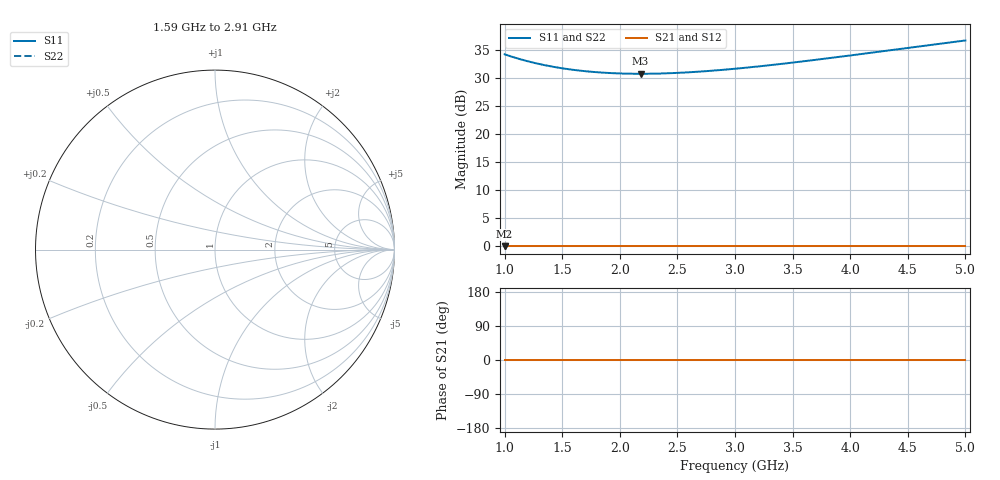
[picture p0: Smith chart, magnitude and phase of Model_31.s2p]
# GHZ S RI R 50
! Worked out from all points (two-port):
!   401 points, 1 GHz to 5 GHz, reference 50 ohm
!   highest |S21| = 0.00 dB at 1 GHz (marker M1); lowest = 0.0 dB at 1 GHz (marker M2)
!   |S21| within 3 dB of the highest: start of sweep to end of sweep
!   lowest |S11| = 30.7 dB at 2.18 GHz (marker M3)
!   |S11| at or under -10 dB: nowhere
!   |S22| runs from 30.7 to 36.6 dB; largest |S21 - S12| = 0
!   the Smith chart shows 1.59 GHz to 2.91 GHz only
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1  51.17 0  1 0  1 0  51.17 0
1.15  45.79 0  1 0  1 0  45.79 0
1.22  43.83 0  1 0  1 0  43.83 0
1.3  41.92 0  1 0  1 0  41.92 0
1.38  40.32 0  1 0  1 0  40.32 0
1.47  38.82 0  1 0  1 0  38.82 0
1.57  37.48 0  1 0  1 0  37.48 0
1.67  36.42 0  1 0  1 0  36.42 0
1.79  35.48 0  1 0  1 0  35.48 0
1.91  34.84 0  1 0  1 0  34.84 0
2.04  34.44 0  1 0  1 0  34.44 0
2.18  34.3 0  1 0  1 0  34.3 0
2.34  34.46 0  1 0  1 0  34.46 0
2.5  34.93 0  1 0  1 0  34.93 0
2.66  35.67 0  1 0  1 0  35.67 0
3  38.02 0  1 0  1 0  38.02 0
3.33  41.2 0  1 0  1 0  41.2 0
3.67  45.27 0  1 0  1 0  45.27 0
4  49.94 0  1 0  1 0  49.94 0
4.34  55.42 0  1 0  1 0  55.42 0
4.63  60.63 0  1 0  1 0  60.63 0
5  67.93 0  1 0  1 0  67.93 0
